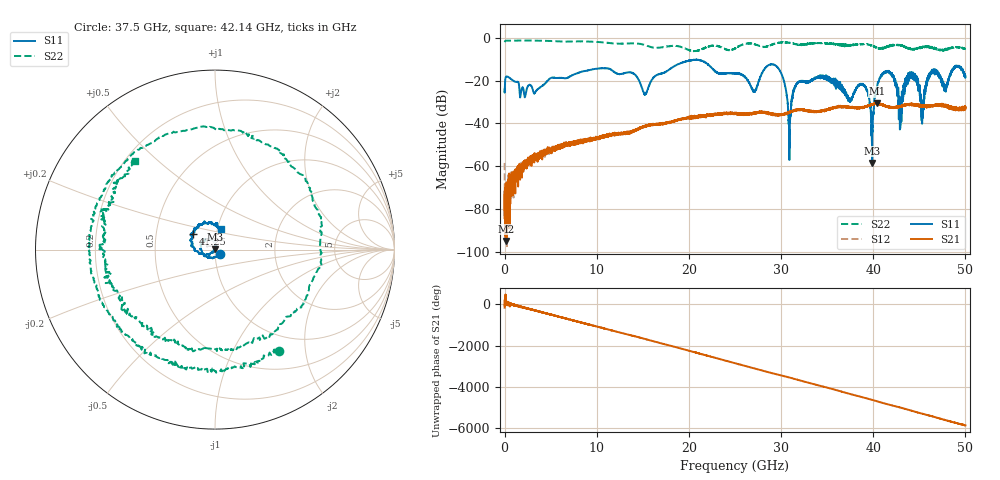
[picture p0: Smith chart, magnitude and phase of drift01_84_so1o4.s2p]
!Created with skrf (http://scikit-rf.org).
# Hz S RI R 50.0
!freq ReS11 ImS11 ReS21 ImS21 ReS12 ImS12 ReS22 ImS22
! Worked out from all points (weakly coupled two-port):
!   10001 points, 300 kHz to 50 GHz, reference 50 ohm
!   highest |S21| = -30.58 dB at 40.44 GHz (marker M1); lowest = -94.8 dB at 200.3 MHz (marker M2)
!   lowest |S11| = -58.4 dB at 39.89 GHz (marker M3), VSWR 1.00, Z = 49.9 + j0.107 ohm
!   |S11| at or under -10 dB: start of sweep to end of sweep
!   |S22| runs from -6.4 to -1.4 dB; largest |S21 - S12| = 0.0042
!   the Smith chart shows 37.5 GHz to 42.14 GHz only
!   S11 on the Smith chart (normalised r, x): 37.5 GHz: 1.05, -0.05; 41.25 GHz: 0.77, +0.14; 42.14 GHz: 1.04, +0.25
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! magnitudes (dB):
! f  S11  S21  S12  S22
! 300 kHz  -24.0  -71.6  -58.4  -2.1
! 200.3 MHz  -18.1  -94.8  -72.6  -1.4
! 8.335 GHz  -15.9  -48.8  -48.3  -1.8
! 16.67 GHz  -17.1  -40.2  -40.5  -4.8
! 25 GHz  -16.6  -35.3  -35.4  -5.0
! 27.09 GHz  -25.1  -35.1  -35.4  -3.0
! 29.44 GHz  -13.2  -36.0  -35.9  -2.7
! 30.91 GHz  -51.5  -34.9  -34.8  -2.5
! 31.7 GHz  -21.7  -33.6  -33.7  -3.2
! 33.34 GHz  -19.8  -34.4  -34.5  -2.7
! 37.5 GHz  -29.1  -32.6  -32.3  -3.5
! 38.97 GHz  -22.3  -32.2  -32.4  -3.1
! 39.89 GHz  -58.4  -31.2  -31.1  -3.9
! 40.44 GHz  -22.4  -30.6  -30.7  -4.9
! 41.25 GHz  -16.5  -31.8  -31.7  -4.6
! 41.67 GHz  -15.7  -32.2  -32.4  -4.0
! 42.14 GHz  -18.2  -32.5  -32.6  -3.5
! 42.97 GHz  -30.7  -32.0  -32.1  -3.5
! 44.05 GHz  -17.2  -31.2  -31.3  -5.3
! 45.31 GHz  -36.2  -32.1  -31.8  -4.4
! 46.42 GHz  -15.8  -32.1  -31.8  -4.9
! 50 GHz  -17.8  -32.4  -32.9  -5.3
